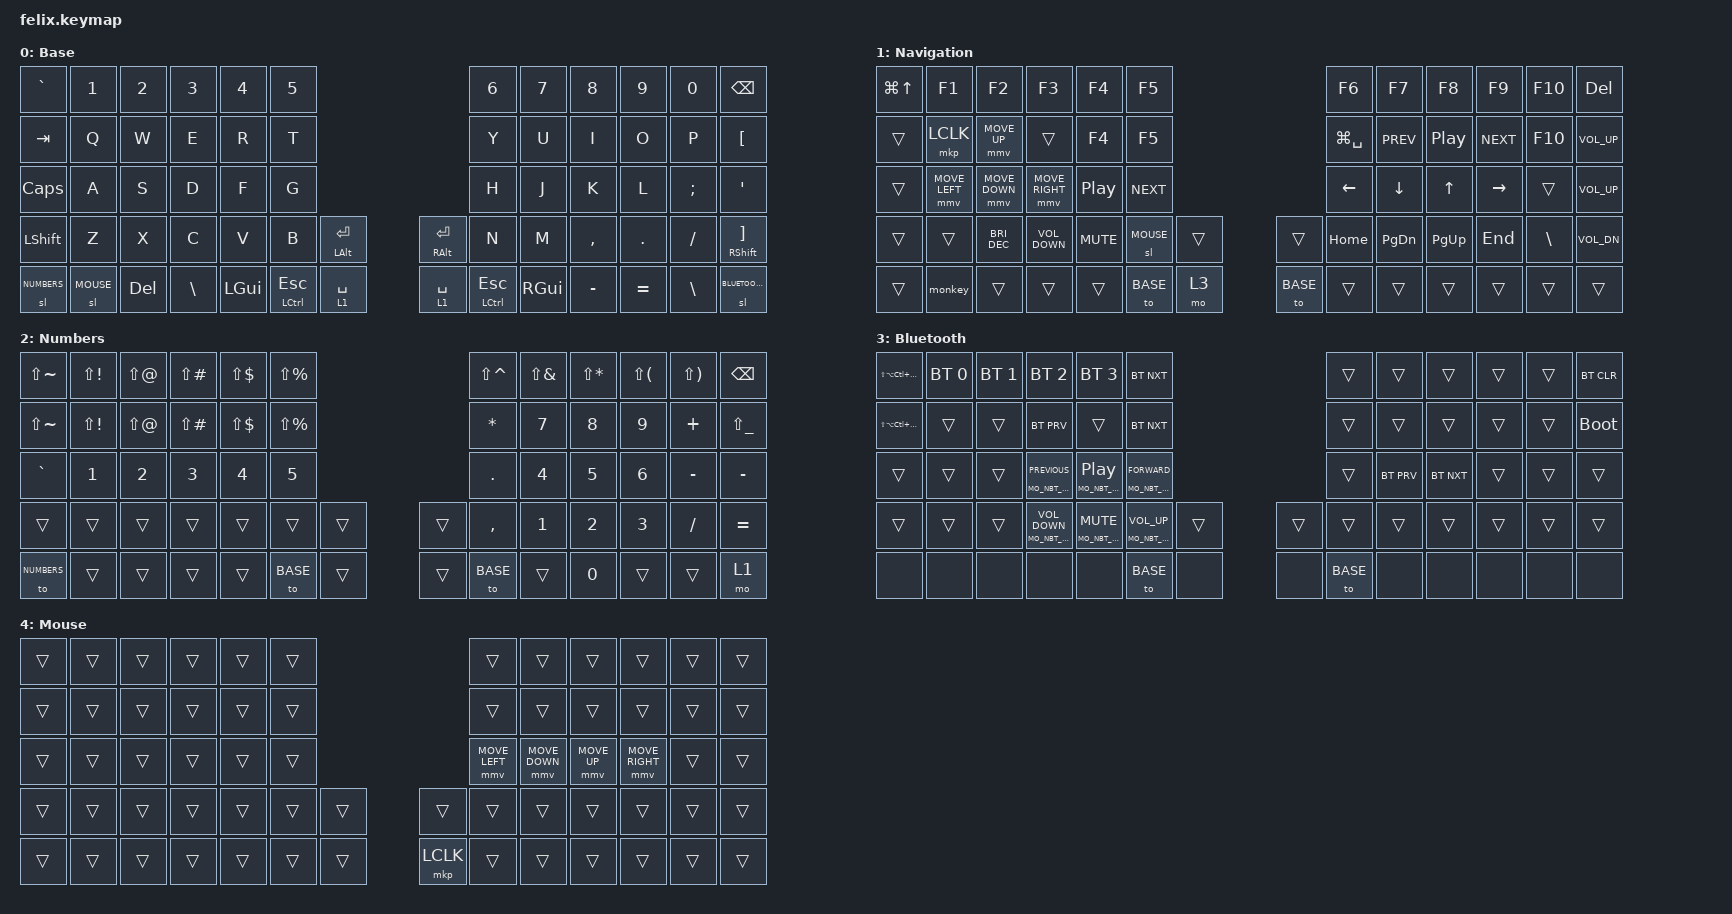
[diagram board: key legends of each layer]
#include <behaviors.dtsi>
#include <dt-bindings/zmk/bt.h>
#include <dt-bindings/zmk/keys.h>
#include <dt-bindings/zmk/pointing.h>

#define LCTR_ESC  &mt LCTRL ESC
#define L1_SPC    &lt 1 SPACE
#define L1_ENT    &lt 1 ENTER
#define RALT_ENT &mt RALT ENTER
#define LALT_ENT &mt LALT ENTER
#define LALT_SPC &mt LALT SPACE
#define RSHFT_RBKT &mt RSHFT RBKT

#define BASE 0
#define NAVIGATION 1
#define NUMBERS 2
#define BLUETOOTH 3
#define MOUSE 4

/ {
    macros {
        MO_NBT_KP: MO_NBT_KP {
            compatible = "zmk,behavior-macro-one-param";
            #binding-cells = <1>;
            bindings =
                <&bt BT_NXT>,
                <&macro_wait_time 500>,
                <&macro_param_1to1 &kp MACRO_PLACEHOLDER &bt BT_PRV>;

            label = "MO_NBT_KP";
        };
    };
    behaviors {
          monkey: macro2 {
              compatible = "zmk,behavior-macro";
              label = "MONKEY_MACRO";
              #binding-cells = <0>;
              bindings = <
  &kp LS(O) &kp G &kp I &kp R &kp N3 &kp N1 &kp N4  &kp N1 &kp N5 &kp N9 &kp N2 &kp N6 &kp MINUS &kp MINUS &kp MINUS &kp ENTER
              >;
          };
      };


    keymap {
        compatible = "zmk,keymap";

        base {
            display-name = "Base";
            bindings = <
&kp GRAVE   &kp N1     &kp N2  &kp N3      &kp N4    &kp N5                               &kp N6    &kp N7    &kp N8     &kp N9      &kp N0         &kp BACKSPACE
&kp TAB     &kp Q      &kp W   &kp E       &kp R     &kp T                                &kp Y     &kp U     &kp I      &kp O       &kp P          &kp LBKT
&kp CAPS    &kp A      &kp S   &kp D       &kp F     &kp G                                &kp H     &kp J     &kp K      &kp L       &kp SEMI       &kp APOS
&kp LSHFT   &kp Z      &kp X   &kp C       &kp V     &kp B      LALT_ENT       RALT_ENT   &kp N     &kp M     &kp COMMA  &kp PERIOD  &kp SLASH      RSHFT_RBKT
&sl NUMBERS &sl MOUSE  &kp DEL &kp BSLH    &kp LGUI  LCTR_ESC   L1_SPC         L1_SPC     LCTR_ESC  &kp RGUI  &kp MINUS  &kp EQUAL   &kp BACKSLASH  &sl BLUETOOTH
            >;
        };

        fn {
            display-name = "Navigation";

            bindings = <
&kp LG(UP)  &kp F1          &kp F2               &kp F3            &kp F4            &kp F5                        &kp F6           &kp F7            &kp F8          &kp F9                 &kp F10        &kp DELETE
&trans      &mkp LCLK       &mmv MOVE_UP         &trans            &kp F4            &kp F5                        &kp LG(SPACE)    &kp C_PREV        &kp C_PP        &kp C_NEXT             &kp F10        &kp C_VOL_UP
&trans      &mmv MOVE_LEFT  &mmv MOVE_DOWN       &mmv MOVE_RIGHT   &kp C_PLAY_PAUSE  &kp C_NEXT                    &kp LEFT_ARROW   &kp DOWN          &kp UP_ARROW    &kp RIGHT              &trans         &kp C_VOL_UP
&trans      &trans          &kp C_BRIGHTNESS_DEC &kp C_VOLUME_DOWN  &kp K_MUTE        &sl MOUSE  &trans   &trans    &kp HOME        &kp PG_DN          &kp PG_UP       &kp END                &kp BACKSLASH  &kp C_VOL_DN
&trans      &monkey         &trans               &trans            &trans            &to BASE   &mo 3    &to BASE  &trans          &trans             &trans          &trans                 &trans         &trans
            >;
        };

        numbers {
            display-name = "Numbers";
            bindings = <
&kp LS(TILDE)  &kp LS(EXCL)  &kp LS(AT)  &kp LS(POUND)  &kp LS(DLLR)  &kp LS(PRCNT)                    &kp LS(CARET)  &kp LS(AMPS)  &kp LS(STAR)  &kp LS(LPAR)  &kp LS(RPAR)  &kp BACKSPACE
&kp LS(TILDE)  &kp LS(EXCL)  &kp LS(AT)  &kp LS(POUND)  &kp LS(DLLR)  &kp LS(PRCNT)                    &kp STAR       &kp N7        &kp N8        &kp N9        &kp PLUS      &kp LS(UNDER)
&kp GRAVE      &kp N1        &kp N2      &kp N3         &kp N4        &kp N5                           &kp PERIOD     &kp N4        &kp N5        &kp N6        &kp MINUS     &kp MINUS
&trans         &trans        &trans      &trans         &trans        &trans         &trans    &trans  &kp COMMA      &kp N1        &kp N2        &kp N3        &kp SLASH     &kp EQUAL
&to NUMBERS    &trans        &trans      &trans         &trans        &to BASE       &trans    &trans  &to BASE       &trans        &kp N0        &trans        &trans        &mo 1
            >;
        };

        bluetooth {
            display-name = "Bluetooth";
            bindings = <
&kp LS(LA(LC(LG(F6))))  &bt BT_SEL 0  &bt BT_SEL 1  &bt BT_SEL 2              &bt BT_SEL 3             &bt BT_NXT                                      &trans   &trans      &trans      &trans  &trans  &bt BT_CLR
&kp LS(LA(LC(LG(F6))))  &trans        &trans        &bt BT_PRV                &trans                   &bt BT_NXT                                      &trans   &trans      &trans      &trans  &trans  &bootloader
&trans                  &trans        &trans        &MO_NBT_KP K_PREVIOUS     &MO_NBT_KP C_PLAY_PAUSE  &MO_NBT_KP K_FORWARD                            &trans   &bt BT_PRV  &bt BT_NXT  &trans  &trans  &trans
&trans                  &trans        &trans        &MO_NBT_KP C_VOLUME_DOWN  &MO_NBT_KP K_MUTE        &MO_NBT_KP C_VOLUME_UP  &trans           &trans &trans   &trans      &trans      &trans  &trans  &trans
&none                   &none         &none         &none                     &none                    &to BASE                &none            &none  &to BASE   &none       &none       &none   &none   &none
            >;
        };

        mouse {
            display-name = "Mouse";
            bindings = <
&trans  &trans  &trans  &trans  &trans  &trans                     &trans          &trans          &trans        &trans           &trans  &trans
&trans  &trans  &trans  &trans  &trans  &trans                     &trans          &trans          &trans        &trans           &trans  &trans
&trans  &trans  &trans  &trans  &trans  &trans                     &mmv MOVE_LEFT  &mmv MOVE_DOWN  &mmv MOVE_UP  &mmv MOVE_RIGHT  &trans  &trans
&trans  &trans  &trans  &trans  &trans  &trans  &trans  &trans     &trans          &trans          &trans        &trans           &trans  &trans
&trans  &trans  &trans  &trans  &trans  &trans  &trans  &mkp LCLK  &trans          &trans          &trans        &trans           &trans  &trans
            >;
        };
    };
};
